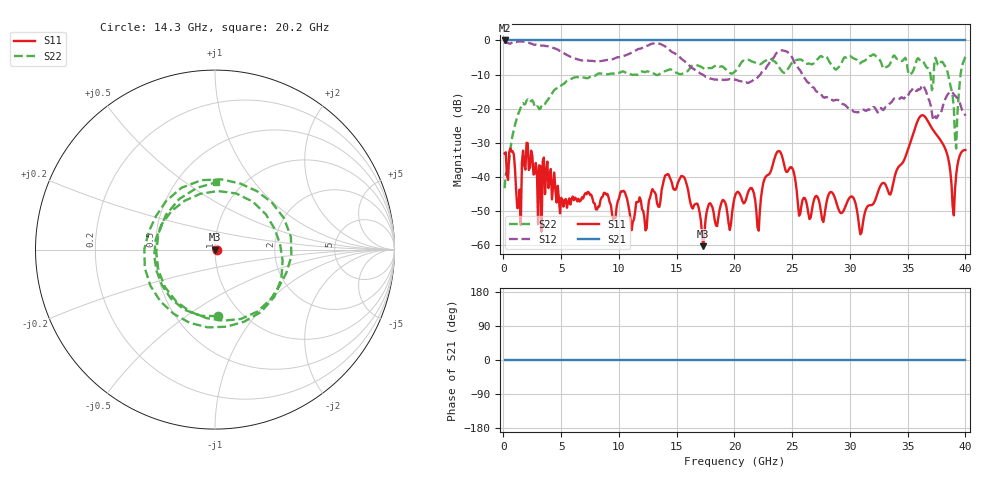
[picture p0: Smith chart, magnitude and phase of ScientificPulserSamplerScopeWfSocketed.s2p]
# MHz MA S R 50.0
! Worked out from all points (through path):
!   400 points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, 100 MHz to 40 GHz, reference 50 ohm
!   highest |S21| = 0.00 dB at 100 MHz (marker M1); lowest = 0.0 dB at 100 MHz (marker M2)
!   lowest |S11| = -60.3 dB at 17.3 GHz (marker M3), VSWR 1.00, Z = 50.1 - j0.045 ohm
!   |S11| at or under -10 dB: start of sweep to end of sweep
!   |S22| runs from -43.3 to -4.1 dB; largest |S21 - S12| = 1.9
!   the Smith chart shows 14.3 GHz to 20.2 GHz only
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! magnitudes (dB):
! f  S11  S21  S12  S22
! 100 MHz  -33.1  0.0  -0.4  -43.3
! 1.5 GHz  -54.0  0.0  -0.3  -19.6
! 1.6 GHz  -35.8  0.0  -0.3  -18.7
! 2 GHz  -30.0  0.0  -0.6  -17.6
! 3 GHz  -53.9  0.0  -1.4  -19.4
! 3.2 GHz  -36.8  0.0  -1.4  -20.0
! 3.3 GHz  -56.0  0.0  -1.5  -19.1
! 3.5 GHz  -34.3  0.0  -1.5  -18.7
! 6.8 GHz  -45.9  0.0  -5.9  -10.8
! 13.4 GHz  -48.6  0.0  -0.9  -10.1
! 15.6 GHz  -40.0  0.0  -5.9  -9.5
! 17.3 GHz  -60.3  0.0  -10.1  -8.1
! 20.1 GHz  -45.1  0.0  -11.5  -8.9
! 22.1 GHz  -55.7  0.0  -10.5  -6.8
! 23.9 GHz  -32.4  0.0  -3.1  -8.0
! 26.7 GHz  -49.9  0.0  -13.6  -7.0
! 33.4 GHz  -45.0  0.0  -18.6  -7.3
! 36.1 GHz  -22.2  0.0  -14.2  -6.1
! 38 GHz  -30.0  0.0  -19.8  -6.2
! 39 GHz  -51.2  0.0  -15.8  -19.8
! 39.2 GHz  -39.4  0.0  -16.5  -31.7
! 40 GHz  -32.1  0.0  -22.0  -4.7
